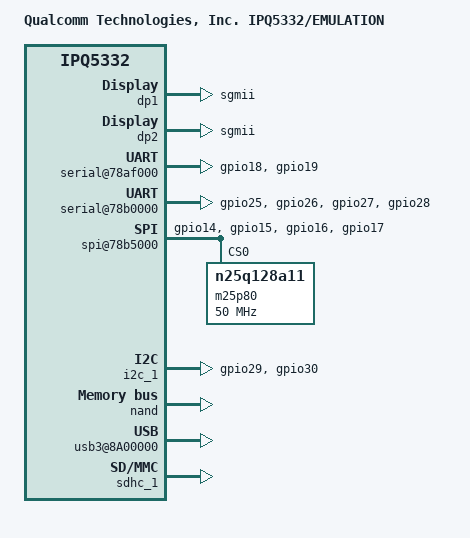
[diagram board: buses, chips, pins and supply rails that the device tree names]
// SPDX-License-Identifier: (GPL-2.0+ OR BSD-3-Clause)
/*
 * IPQ5332 Emulation board device tree source
 *
 * Copyright (c) 2020-2021 The Linux Foundation. All rights reserved.
 * Copyright (c) 2022-2023 Qualcomm Innovation Center, Inc. All rights reserved.
 */

/dts-v1/;

#include "ipq5332.dtsi"
#include "ipq5332-default-memory.dtsi"

/ {
	#address-cells = <0x2>;
	#size-cells = <0x2>;
	model = "Qualcomm Technologies, Inc. IPQ5332/EMULATION";
	compatible = "qcom,ipq5332-ap-emulation", "qcom,ipq5332";
	interrupt-parent = <&intc>;

	clocks {
		sleep_clk: sleep-clk {
			clock-frequency = <320>;
		};

		xo: xo {
			clock-frequency = <240000>;
		};
	};

	aliases {
		serial0 = &blsp1_uart0;
		serial1 = &blsp1_uart1;
		ethernet0 = "/soc/dp1";
		ethernet1 = "/soc/dp2";
	};

	chosen {
		linux,initrd-end = <0x57000000>;
		linux,initrd-start = <0x55000000>;
		bootargs = "root=/dev/ram0 rw init=/init";
		stdout-path = "serial0";
	};

	cpus: cpus {
		CPU0: cpu@0 {
			enable-method = "qcom,arm-cortex-acc";
			qcom,acc = <&acc0>;
		};

		CPU1: cpu@1 {
			enable-method = "qcom,arm-cortex-acc";
			qcom,acc = <&acc1>;
		};

		CPU2: cpu@2 {
			enable-method = "qcom,arm-cortex-acc";
			qcom,acc = <&acc2>;
		};

		CPU3: cpu@3 {
			enable-method = "qcom,arm-cortex-acc";
			qcom,acc = <&acc3>;
		};
	};

	firmware {
		qfprom {
			status = "disabled";
		};
	};

	soc {
		pinctrl@1000000 {
			emmc_pins: emmc_pins {
				emmc_clk {
					pins = "gpio13";
					function = "sdc_clk";
					drive-strength = <8>;
					bias-disable;
				};
				emmc_cmd {
					pins = "gpio12";
					function = "sdc_cmd";
					drive-strength = <8>;
					bias-pull-up;
				};
				emmc_data {
					pins = "gpio8", "gpio9", "gpio10",
						"gpio11";
					function = "sdc_data";
					drive-strength = <8>;
					bias-pull-up;
				};
			};

			spi_0_pins: spi0-pinmux {
				pins = "gpio14", "gpio15", "gpio16", "gpio17";
				function = "blsp0_spi";
				drive-strength = <2>;
				bias-disable;
			};

			serial_0_pins: serial0-pinmux {
				pins = "gpio18", "gpio19";
				function = "blsp0_uart0";
				drive-strength = <8>;
				bias-pull-down;
			};

			serial_1_pins: serial1-pinmux {
				pins = "gpio25", "gpio26", "gpio27", "gpio28";
				function = "blsp1_uart1";
				drive-strength = <8>;
				bias-pull-down;
			};

			i2c_1_pins: i2c-1-pinmux {
				pins = "gpio29", "gpio30";
				function = "blsp1_i2c0";
				drive-strength = <8>;
				bias-disable;
			};
		};

		gcc: gcc@1800000 {
			gcc-use-dummy;
		};

		nsscc: nsscc@39b00000 {
			nsscc-use-dummy;
		};

		dp1 {
			device_type = "network";
			compatible = "qcom,nss-dp";
			qcom,id = <1>;
			reg = <0x3a001000 0x200>;
			qcom,mactype = <1>;
			local-mac-address = [000000000000];
			qcom,phy-mdio-addr = <0>;
			phy-mode = "sgmii";
			/* TODO: support link polling */
		};

		dp2 {
			device_type = "network";
			compatible = "qcom,nss-dp";
			qcom,id = <2>;
			reg = <0x3a001200 0x200>;
			qcom,mactype = <1>;
			local-mac-address = [000000000000];
			qcom,phy-mdio-addr = <0>;
			phy-mode = "sgmii";
			/* TODO: support link polling */
		};

		ess-instance {
			num_devices = <0x1>;
			ess-switch@3a000000 {
				qcom,emulation; /* RUMI ENV */
				switch_cpu_bmp = <0x1>;  /* cpu port bitmap */
				switch_lan_bmp = <0x4>; /* lan port bitmap */
				switch_wan_bmp = <0x2>; /* wan port bitmap */
				switch_mac_mode = <0xd>; /* mac mode for uniphy instance0*/
				switch_mac_mode1 = <0xd>; /* mac mode for uniphy instance1*/
				switch_mac_mode2 = <0xff>; /* mac mode for uniphy instance2*/
				bm_tick_mode = <0>; /* bm tick mode */
				tm_tick_mode = <0>; /* tm tick mode */

				qcom,port_phyinfo {
					port@0 {
						port_id = <1>;
						forced-speed = <5000>;
						forced-duplex = <1>;
					};
					port@1 {
						port_id = <2>;
						forced-speed = <5000>;
						forced-duplex = <1>;
					};
				};
				port_scheduler_resource {
					port@0 {
						port_id = <0>;
						ucast_queue = <0 43>;
						mcast_queue = <256 262>;
						l0sp = <0 6>;
						l0cdrr = <0 27>;
						l0edrr = <0 27>;
						l1cdrr = <0 0>;
						l1edrr = <0 0>;
					};
					port@1 {
						port_id = <1>;
						ucast_queue = <204 211>;
						mcast_queue = <272 275>;
						l0sp = <51 52>;
						l0cdrr = <108 115>;
						l0edrr = <108 115>;
						l1cdrr = <23 24>;
						l1edrr = <23 24>;
					};
					port@2 {
						port_id = <2>;
						ucast_queue = <212 219>;
						mcast_queue = <276 279>;
						l0sp = <53 54>;
						l0cdrr = <116 123>;
						l0edrr = <116 123>;
						l1cdrr = <25 26>;
						l1edrr = <25 26>;
					};
					reserved {
						ucast_queue = <44 203>;
						mcast_queue = <263 271>;
						l0sp = <7 50>;
						l0cdrr = <28 107>;
						l0edrr = <28 107>;
						l1cdrr = <1 22>;
						l1edrr = <1 22>;
					};
				};
				port_scheduler_config {
					port@0 {
						port_id = <0>;
						l1scheduler {
							group@0 {
								/* L0 SP */
								sp = <0 1 2 3 4 5 6>;
								/* cpri cdrr epri edrr */
								cfg = <0 0 0 0>;
							};
						};
						l0scheduler {
							group@0 {
								/* unicast queue */
								ucast_queue = <0>;
								ucast_loop_pri = <4>;
								/* multicast queue */
								mcast_queue = <256>;
								/* sp cpri cdrr epri edrr */
								cfg = <0 0 0 0 0>;
							};
							group@1 {
								ucast_queue = <4>;
								ucast_loop_pri = <4>;
								cfg = <0 0 0 0 0>;
							};
							group@2 {
								ucast_queue = <8>;
								ucast_loop_pri = <4>;
								mcast_queue = <257>;
								cfg = <1 0 4 0 4>;
							};
							group@3 {
								ucast_queue = <12>;
								ucast_loop_pri = <4>;
								cfg = <1 0 4 0 4>;
							};
							group@4 {
								ucast_queue = <16>;
								ucast_loop_pri = <4>;
								mcast_queue = <258>;
								cfg = <2 0 8 0 8>;
							};
							group@5 {
								ucast_queue = <20>;
								ucast_loop_pri = <4>;
								cfg = <2 0 8 0 8>;
							};
							group@6 {
								ucast_queue = <24>;
								ucast_loop_pri = <4>;
								mcast_queue = <259>;
								cfg = <3 0 12 0 12>;
							};
							group@7 {
								ucast_queue = <28>;
								ucast_loop_pri = <4>;
								cfg = <3 0 12 0 12>;
							};
							group@8 {
								ucast_queue = <32>;
								ucast_loop_pri = <4>;
								mcast_queue = <260>;
								cfg = <4 0 16 0 16>;
							};
							group@9 {
								ucast_queue = <36>;
								ucast_loop_pri = <4>;
								mcast_queue = <261>;
								cfg = <5 0 20 0 20>;
							};
							group@10 {
								ucast_queue = <40>;
								ucast_loop_pri = <4>;
								mcast_queue = <262>;
								cfg = <6 0 24 0 24>;
							};
						};
					};
					port@1 {
						port_id = <1>;
						l1scheduler {
							group@0 {
								sp = <51>;
								cfg = <0 23 0 23>;
							};
							group@1 {
								sp = <52>;
								cfg = <1 24 1 24>;
							};
						};
						l0scheduler {
							group@0 {
								ucast_queue = <204>;
								ucast_loop_pri = <8>;
								/* max priority per SP */
								ucast_max_pri = <4>;
								mcast_queue = <272>;
								mcast_loop_pri = <4>;
								cfg = <51 0 108 0 108>;
							};
						};
					};
					port@2 {
						port_id = <2>;
						l1scheduler {
							group@0 {
								sp = <53>;
								cfg = <0 25 0 25>;
							};
							group@1 {
								sp = <54>;
								cfg = <1 26 1 26>;
							};
						};
						l0scheduler {
							group@0 {
								ucast_queue = <212>;
								ucast_loop_pri = <8>;
								ucast_max_pri = <4>;
								mcast_queue = <276>;
								mcast_loop_pri = <4>;
								cfg = <53 0 116 0 116>;
							};
						};
					};
				};
			};
		};

		nss-ppe {
			compatible = "qcom,nss-ppe";
		};

		edma@3ab00000 {
			compatible = "qcom,edma";
			reg = <0x3ab00000 0xed000>;
			reg-names = "edma-reg-base";
			reset-names = "edma_rst";
			clocks = <&nsscc NSS_CC_NSS_CSR_CLK>,
				 <&nsscc NSS_CC_NSSNOC_NSS_CSR_CLK>,
				 <&nsscc NSS_CC_CE_APB_CLK>,
				 <&nsscc NSS_CC_CE_AXI_CLK>,
				 <&nsscc NSS_CC_NSSNOC_CE_APB_CLK>,
				 <&nsscc NSS_CC_NSSNOC_CE_AXI_CLK>,
				 <&gcc GCC_NSS_TS_CLK>,
				 <&gcc GCC_NSSCC_CLK>,
				 <&gcc GCC_NSSCFG_CLK>,
				 <&gcc GCC_NSSNOC_ATB_CLK>,
				 <&gcc GCC_NSSNOC_NSSCC_CLK>,
				 <&gcc GCC_NSSNOC_PCNOC_1_CLK>,
				 <&gcc GCC_NSSNOC_QOSGEN_REF_CLK>,
				 <&gcc GCC_NSSNOC_SNOC_1_CLK>,
				 <&gcc GCC_NSSNOC_SNOC_CLK>,
				 <&gcc GCC_NSSNOC_TIMEOUT_REF_CLK>,
				 <&gcc GCC_NSSNOC_XO_DCD_CLK>,
				 <&gcc GCC_SNOC_NSSNOC_CLK>,
				 <&gcc GCC_SNOC_NSSNOC_1_CLK>;
			clock-names = "nss-csr-clk", "nss-nssnoc-csr-clk", "nss-ce-ahb-clk",
				      "nss-ce-axi-clk", "nss-nssnoc-ce-ahb-clk", "nss-nssnoc-ce-axi-clk",
				      "nss-ts-clk", "nss-nsscc-clk", "nss-nsscfg-clk", "nss-nsscnoc-atb-clk",
				      "nss-nssnoc-nsscc-clk", "nss-nssnoc-pcnoc-1-clk", "nss-nssnoc-qosgen-ref-clk",
				      "nss-nssnoc-snoc-1-clk", "nss-nssnoc-snoc-clk", "nss-nssnoc-timeout-ref-clk",
				      "nss-nssnoc-xo-dcd-clk", "nss-snoc-nssnoc-clk", "nss-snoc-nssnoc-1-clk";
			qcom,txdesc-ring-start = <4>;		/* Tx desc ring start ID */
			qcom,txdesc-rings = <12>;		/* Total number of Tx desc rings to be provisioned */
			qcom,txcmpl-ring-start = <4>;		/* Tx complete ring start ID */
			qcom,txcmpl-rings = <12>;		/* Total number of Tx complete rings to be provisioned */
			qcom,rxfill-ring-start = <4>;		/* Rx fill ring start ID */
			qcom,rxfill-rings = <4>;		/* Total number of Rx fill rings to be provisioned */
			qcom,rxdesc-ring-start = <12>;		/* Rx desc ring start ID */
			qcom,rxdesc-rings = <4>;		/* Total number of Rx desc rings to be provisioned */
			qcom,rx-page-mode = <0>;		/* Rx fill ring page mode */
			qcom,tx-map-priority-level = <1>;	/* Tx priority level per port */
			qcom,rx-map-priority-level = <1>;	/* Rx priority level per core */
			qcom,ppeds-num = <2>;			/* Number of PPEDS nodes */
			/* PPE-DS node format: <Rx-fill Tx-cmpl Rx Tx Queue-base Queue-count> */
			qcom,ppeds-map = <1 1 1 1 32 8>,	/* PPEDS Node #1 ring and queue map */
					<2 2 2 2 40 8>;		/* PPEDS Node #2 ring and queue map */
			qcom,txdesc-map = <8 9 10 11>,		/* Port0 per-core Tx ring map */
					  <12 13 14 15>,	/* Port1 per-core Tx ring map */
					  <4 5 6 7>;		/* used only for packets from  vp*/
			qcom,txdesc-fc-grp-map = <1 2>;		/* Per GMAC flow control group map */
			qcom,rxfill-map = <4 5 6 7>;		/* Per-core Rx fill ring map */
			qcom,rxdesc-map = <12 13 14 15>;	/* Per-core Rx desc ring map */
			qcom,rx-queue-start = <0>;		/* Rx queue start */
			qcom,rx-ring-queue-map = <0 8 16 24>,	/* Priority 0 queues per-core Rx ring map */
						<1 9 17 25>,	/* Priority 1 queues per-core Rx ring map */
						<2 10 18 26>,	/* Priority 2 queues per-core Rx ring map */
						<3 11 19 27>,	/* Priority 3 queues per-core Rx ring map */
						<4 12 20 28>,	/* Priority 4 queues per-core Rx ring map */
						<5 13 21 29>,	/* Priority 5 queues per-core Rx ring map */
						<6 14 22 30>,	/* Priority 6 queues per-core Rx ring map */
						<7 15 23 31>;	/* Priority 7 queues per-core Rx ring map */
			interrupts = <0 163 4>,			/* Tx complete ring id #4 IRQ info */
				   <0 164 4>,			/* Tx complete ring id #5 IRQ info */
				   <0 165 4>,			/* Tx complete ring id #6 IRQ info */
				   <0 166 4>,			/* Tx complete ring id #7 IRQ info */
				   <0 167 4>,			/* Tx complete ring id #8 IRQ info */
				   <0 168 4>,			/* Tx complete ring id #9 IRQ info */
				   <0 169 4>,			/* Tx complete ring id #10 IRQ info */
				   <0 170 4>,			/* Tx complete ring id #11 IRQ info */
				   <0 171 4>,			/* Tx complete ring id #12 IRQ info */
				   <0 172 4>,			/* Tx complete ring id #13 IRQ info */
				   <0 173 4>,			/* Tx complete ring id #14 IRQ info */
				   <0 174 4>,			/* Tx complete ring id #15 IRQ info */
				   <0 139 4>,			/* Rx desc ring id #12 IRQ info */
				   <0 140 4>,			/* Rx desc ring id #13 IRQ info */
				   <0 141 4>,			/* Rx desc ring id #14 IRQ info */
				   <0 142 4>,			/* Rx desc ring id #15 IRQ info */
				   <0 191 4>,			/* Misc error IRQ info */
				<0 160 4>,			/* PPEDS Node #1(TxComp ring id #1) TxComplete IRQ info */
				<0 128 4>,			/* PPEDS Node #1(Rx Desc ring id #1) Rx Desc IRQ info */
				<0 152 4>,			/* PPEDS Node #1(RxFill Desc ring id #1) Rx Fill IRQ info */
				<0 161 4>,			/* PPEDS Node #2(TxComp ring id #2) TxComplete IRQ info */
				<0 129 4>,			/* PPEDS Node #2(Rx Desc ring id #2) Rx Desc IRQ info */
				<0 153 4>;			/* PPEDS Node #2(RxFill Desc ring id #2) Rx Fill IRQ info */
		};

		serial@78af000 {
			pinctrl-0 = <&serial_0_pins>;
			pinctrl-names = "default";
			status = "ok";
		};

		serial@78b0000 {
			pinctrl-0 = <&serial_1_pins>;
			pinctrl-names = "default";
			status = "ok";
		};

		spi@78b5000 {
			pinctrl-0 = <&spi_0_pins>;
			pinctrl-names = "default";
			cs-select = <0>;
			status = "ok";

			m25p80@0 {
				compatible = "n25q128a11";
				#address-cells = <1>;
				#size-cells = <1>;
				reg = <0>;
				spi-max-frequency = <50000000>;
			};
		};

		i2c_1: i2c@78b6000 {
			pinctrl-0 = <&i2c_1_pins>;
			pinctrl-names = "default";
			status = "ok";
		};

		dma@7984000 {
			status = "ok";
		};

		nand: nand@79b0000 {
			status = "ok";
		};

		acc0: clock-controller@b188000 {
			compatible = "qcom,arm-cortex-acc";
			reg = <0x0b188000 0x1000>;
		};

		acc1: clock-controller@b198000 {
			compatible = "qcom,arm-cortex-acc";
			reg = <0x0b198000 0x1000>;
		};

		acc2:clock-controller@b1a8000 {
			compatible = "qcom,arm-cortex-acc";
			reg = <0x0b1a8000 0x1000>;
		};

		acc3:clock-controller@b1b8000 {
			compatible = "qcom,arm-cortex-acc";
			reg = <0x0b1b8000 0x1000>;
		};

		/*Timer freq for rumi = timer freq / 100*/
		timer {
			clock-frequency = <240000>;
		};

		timer@b120000 {
			clock-frequency = <240000>;
		};

		scm {
			status = "disabled";
		};

		usb3@8A00000 {
			status = "ok";

			dwc3@8A00000 {
				usb-phy = <>;
				phys = <>;
				phy-names = "";
			};
		};

		pcie2: pcie@10000000 {
			max-link-speed = <1>;
			perst-gpio = <&tlmm 40 GPIO_ACTIVE_LOW>;
			phys = <>;
			phy-names = "";
			status = "disabled";

			pcie2_rp {
				reg = <0 0 0 0 0>;

				qcom,mhi@0 {
					reg = <0 0 0 0 0>;
				};
			};
		};

		pcie1: pcie@18000000 {
			max-link-speed = <1>;
			perst-gpio = <&tlmm 41 GPIO_ACTIVE_LOW>;
			phys = <>;
			phy-names = "";
			status = "disabled";

			pcie1_rp {
				reg = <0 0 0 0 0>;

				qcom,mhi@1 {
					reg = <0 0 0 0 0>;
				};
			};
		};

		pcie0: pcie@20000000 {
			max-link-speed = <1>;
			perst-gpio = <&tlmm 42 GPIO_ACTIVE_LOW>;
			phys = <>;
			phy-names = "";
			status = "disabled";

			pcie0_rp {
				reg = <0 0 0 0 0>;

				qcom,mhi@2 {
					reg = <0 0 0 0 0>;
				};
			};
		};
	};

	psci {
		status = "disabled";
	};

	qti,tzlog {
		status = "disabled";
	};

	qti,scm_restart_reason {
		status = "disabled";
	};

	ctx-save {
		status = "disabled";
	};

};

&sdhc_1 {
	/* over-ride the frequency to 48Mhz for emulation platform */
	max-frequency = <48000000>;
	/* Force 3.3V, because only that will support on emulation platform */
	mmc-ddr-3_3v;
	qcom,emulation;
        status = "ok";
};

&q6v5_wcss {
	qcom,emulation;
	qcom,nosecure;
	bootaddr = <0x4A900000>;
	q6_wcss_pd1: remoteproc_pd1 {
		qcom,emulation;
		qcom,nosecure;
		bootaddr = <0x4A900000>;
		qcom,fw_shared;
	};
};
